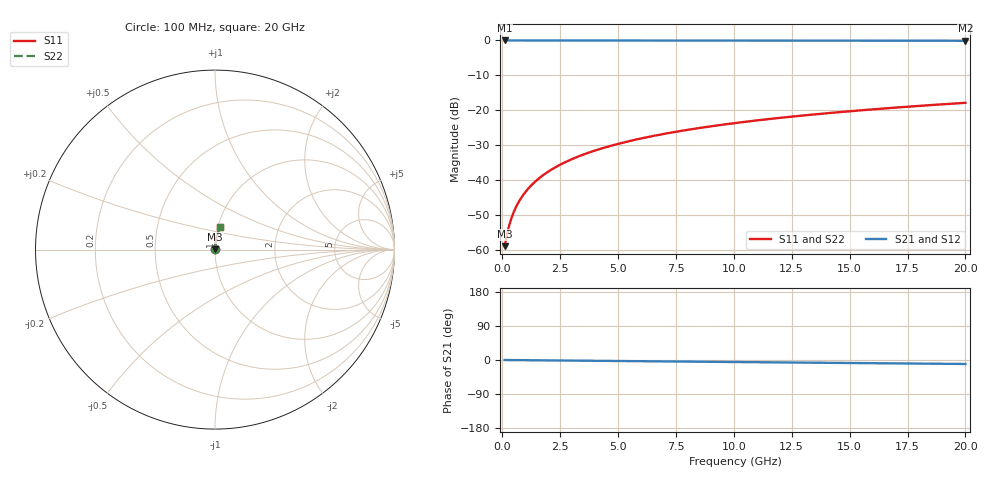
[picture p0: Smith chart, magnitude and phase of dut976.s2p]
! Touchstone file exported from HFSS 2026.1.0
!  File:  C:/ffzhzh/LocalFiles/Ansys_Project_Files/temp_train_TMRDL_976_1783159106_55132.aedt
!  Generated:  05:59:39 PM Jul  4, 2026
!  Design:  TMRDL
!  Project:  temp_train_TMRDL_976_1783159106_55132
! Variables:
!  h_bsmrdl = 2um
!  h_ox = 20um
!  h_rdl = 5um
!  h_sub = 80um
!  h_tmrdl = 3.73um
!  h_tsv = 80um
!  h_via = 3um
!  l_bsmrdl = 300um
!  l_sub = 503.13um
!  l_tmrdl = 103.13um
!  m_sub = 200um
!  pitch = 43.12um
!  r_tsv = 6um
!  s_tmrdl = 10um
!  w_bsmrdl = 18um
!  w_sub = 500um
!  w_tmrdl = 13.31um
!  x_tsv_center1 = 109.785um
!  x_tsv_center2 = 427.785um
!  x_tsv_center3 = 544.225um
!  x_tsv_center4 = 862.225um
!  x_tsv_center5 = 978.665um
!  x_tsv_center6 = 1296.665um
# GHz S MA R 50.000000
! Terminal data exported
! Port[1] = TM_RDL1_1_T1
! Port[2] = TM_RDL1_1_T2
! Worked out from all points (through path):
!   200 points, 100 MHz to 20 GHz, reference 50 ohm
!   highest |S21| = -0.01 dB at 100 MHz (marker M1); lowest = -0.1 dB at 20 GHz (marker M2)
!   group delay of S21, straight-line fit = 1.46 ps
!   lowest |S11| = -58.8 dB at 100 MHz (marker M3), VSWR 1.00, Z = 50.1 + j0.0698 ohm
!   |S11| at or under -10 dB: start of sweep to end of sweep
!   |S22| runs from -58.8 to -17.8 dB; largest |S21 - S12| = 2.2e-15
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0.1  0.001143 37.6  0.9991 -0.1  0.9991 -0.1  0.001143 37.6
! Gamma 0 0 0 0
! Port Impedance 50 0 50 0
0.2  0.001667 56.3  0.9991 -0.1  0.9991 -0.1  0.001667 56.3
0.3  0.002276 65.4  0.9991 -0.2  0.9991 -0.2  0.002276 65.4
0.4  0.002911 70.4  0.999 -0.2  0.999 -0.2  0.002911 70.4
0.5  0.003555 73.7  0.999 -0.3  0.999 -0.3  0.003555 73.7
0.6  0.004202 75.9  0.999 -0.3  0.999 -0.3  0.004202 75.9
0.8  0.005504 78.8  0.999 -0.4  0.999 -0.4  0.005504 78.8
1.1  0.00747 81.3  0.9989 -0.6  0.9989 -0.6  0.00747 81.3
1.5  0.0101 83.0  0.9989 -0.8  0.9989 -0.8  0.0101 83.0
1.8  0.01209 83.7  0.9988 -1.0  0.9988 -1.0  0.01209 83.7
2.1  0.01407 84.2  0.9988 -1.1  0.9988 -1.1  0.01407 84.2
2.7  0.01804 84.7  0.9986 -1.5  0.9986 -1.5  0.01804 84.7
3.5  0.02332 85.0  0.9984 -1.9  0.9984 -1.9  0.02332 85.0
4.2  0.02792 84.9  0.9982 -2.3  0.9982 -2.3  0.02792 84.9
5  0.03317 84.7  0.998 -2.7  0.998 -2.7  0.03317 84.7
5.9  0.03905 84.5  0.9976 -3.2  0.9976 -3.2  0.03905 84.5
6.8  0.0449 84.1  0.9972 -3.6  0.9972 -3.6  0.0449 84.1
8.3  0.05459 83.5  0.9965 -4.4  0.9965 -4.4  0.05459 83.5
10.1  0.06612 82.7  0.9956 -5.4  0.9956 -5.4  0.06612 82.7
13.4  0.08706 81.1  0.9935 -7.1  0.9935 -7.1  0.08706 81.1
16.7  0.1077 79.6  0.9911 -8.8  0.9911 -8.8  0.1077 79.6
20  0.1282 78.0  0.9884 -10.5  0.9884 -10.5  0.1282 78.0
